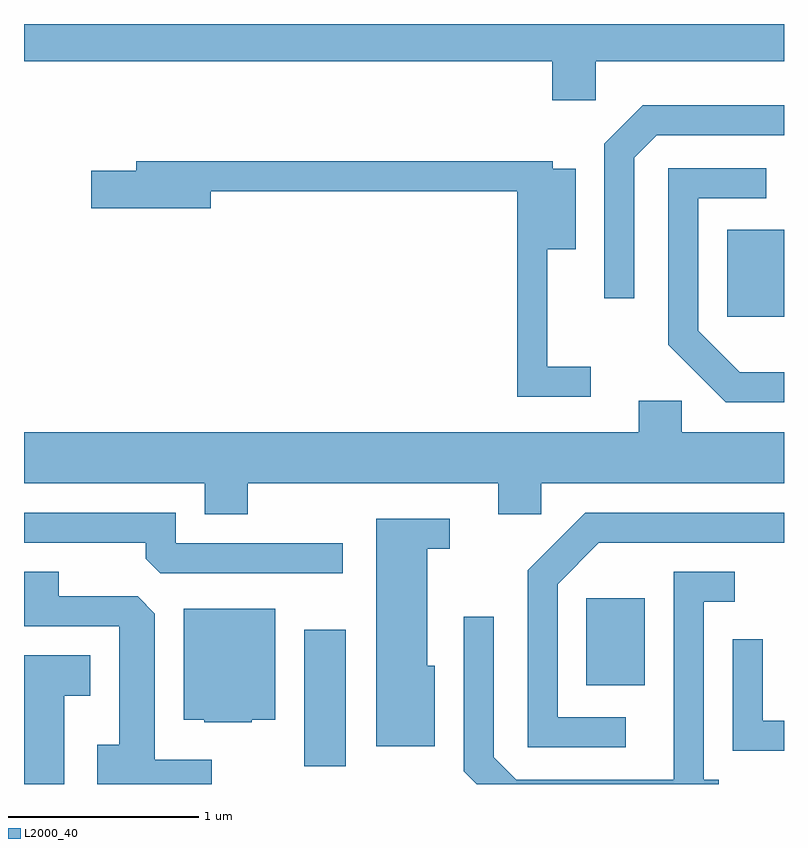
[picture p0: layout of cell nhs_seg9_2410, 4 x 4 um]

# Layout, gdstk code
import gdstk
lib = gdstk.Library(unit=1e-6, precision=1e-09)
def R(c, l, rs):  # rectangles x0, y0, x1, y1
    for r in rs: c.add(gdstk.rectangle(r[:2], r[2:], *l))
def P(c, l, *ps):  # polygons
    for p in ps: c.add(gdstk.Polygon(p, *l))
L2000_40 = (2000, 40)

nhs_seg9_2410 = lib.new_cell('nhs_seg9_2410')
R(nhs_seg9_2410, L2000_40, [(257.086,2012.526,257.304,2013.244), (258.571,2012.951,258.879,2013.409), (259.311,2014.891,259.611,2015.349)])
P(nhs_seg9_2410, L2000_40, [(258.619,2016.236),(259.611,2016.236),(259.611,2016.432),(255.611,2016.432),(255.611,2016.236),(258.391,2016.236),(258.391,2016.031),(258.619,2016.031)],
  [(258.824,2015.729),(258.942,2015.846),(259.611,2015.846),(259.611,2016.004),(258.868,2016.004),(258.666,2015.802),(258.666,2014.988),(258.824,2014.988)],
  [(258.593,2014.629),(258.364,2014.629),(258.364,2015.246),(258.514,2015.246),(258.514,2015.669),(258.394,2015.669),(258.394,2015.709),(256.201,2015.709),(256.201,2015.659),(255.966,2015.659),(255.966,2015.461),(256.594,2015.461),(256.594,2015.551),(258.206,2015.551),(258.206,2014.471),(258.593,2014.471)],
  [(259.611,2014.599),(259.377,2014.599),(259.159,2014.817),(259.159,2015.516),(259.517,2015.516),(259.517,2015.674),(259.001,2015.674),(259.001,2014.744),(259.304,2014.441),(259.611,2014.441)],
  [(256.789,2014.016),(258.106,2014.016),(258.106,2013.851),(258.334,2013.851),(258.334,2014.016),(259.611,2014.016),(259.611,2014.284),(259.074,2014.284),(259.074,2014.449),(258.846,2014.449),(258.846,2014.284),(255.611,2014.284),(255.611,2014.016),(256.561,2014.016),(256.561,2013.851),(256.789,2013.851)],
  [(258.778,2012.784),(258.419,2012.784),(258.419,2013.484),(258.637,2013.701),(259.611,2013.701),(259.611,2013.859),(258.564,2013.859),(258.261,2013.557),(258.261,2012.626),(258.778,2012.626)],
  [(257.288,2013.699),(256.409,2013.699),(256.409,2013.859),(255.611,2013.859),(255.611,2013.701),(256.251,2013.701),(256.251,2013.617),(256.327,2013.541),(257.288,2013.541)],
  [(257.774,2013.054),(257.734,2013.054),(257.734,2013.671),(257.853,2013.671),(257.853,2013.829),(257.466,2013.829),(257.466,2012.631),(257.774,2012.631)],
  [(259.267,2012.454),(259.189,2012.454),(259.189,2013.391),(259.353,2013.391),(259.353,2013.549),(259.031,2013.549),(259.031,2012.454),(258.202,2012.454),(258.084,2012.572),(258.084,2013.313),(257.926,2013.313),(257.926,2012.499),(257.993,2012.432),(259.267,2012.432)],
  [(256.599,2012.559),(256.299,2012.559),(256.299,2013.329),(256.209,2013.419),(255.794,2013.419),(255.794,2013.549),(255.611,2013.549),(255.611,2013.261),(256.111,2013.261),(256.111,2012.639),(255.996,2012.639),(255.996,2012.432),(256.599,2012.432)],
  [(256.81,2012.771),(256.934,2012.771),(256.934,2013.354),(256.451,2013.354),(256.451,2012.771),(256.56,2012.771),(256.56,2012.756),(256.81,2012.756)],
  [(259.611,2012.764),(259.499,2012.764),(259.499,2013.193),(259.341,2013.193),(259.341,2012.606),(259.611,2012.606)],
  [(255.824,2012.896),(255.959,2012.896),(255.959,2013.109),(255.611,2013.109),(255.611,2012.432),(255.824,2012.432)])

lib.write_gds('nhs_seg9_2410.gds')
